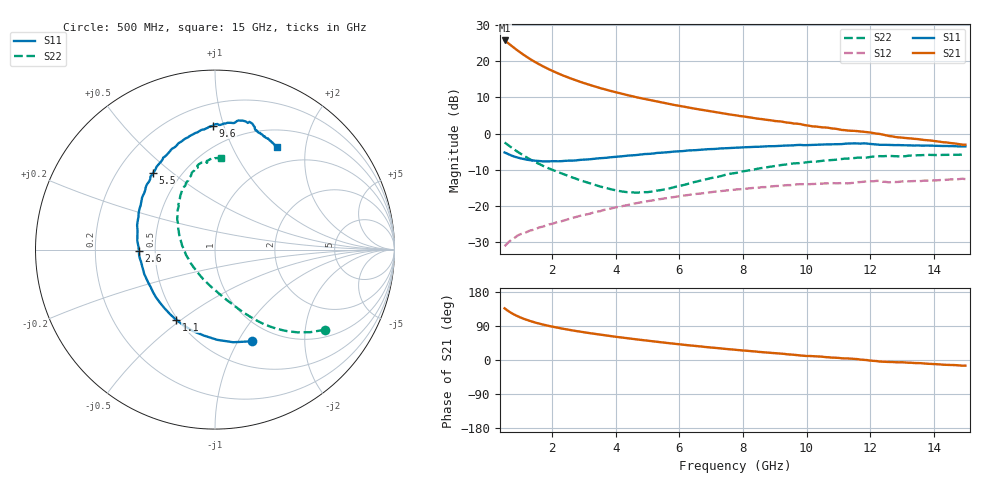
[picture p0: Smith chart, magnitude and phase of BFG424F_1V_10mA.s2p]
! Filename BFG424F_1V_10mA.prm
! Created	by	janssen	on	nov	2006
!	Column ranking S11, S21,S12,S22 both magnitude and phase.
!	VCE	=	1	V,	IC	=	10	mA
!	Common	Emitter	S-Parameters
#	GHz	S	MA	R	50
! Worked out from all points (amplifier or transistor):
!   146 points, 500 MHz to 15 GHz, reference 50 ohm
!   highest |S21| = 25.7 dB at 500 MHz (marker M1)
!   |S21| within 3 dB of that: start of sweep to 943.9 MHz
!   unconditionally stable (mu >= 1): 2.146 GHz to end of sweep
!   at 2.9 GHz: K = 1.13, MAG = 16.3 dB, |S12| = -22.6 dB
!   at 7.8 GHz: K = 1.22, MAG = 7.4 dB, |S12| = -15.4 dB
!   at 15 GHz: K = 1.59, MAG = 0.2 dB, |S12| = -12.5 dB
!   S11 on the Smith chart (normalised r, x): 500 MHz: 0.78, -1.14; 1.1 GHz: 0.49, -0.48; 2.6 GHz: 0.40, -0.01; 5.5 GHz: 0.35, +0.43; 9.6 GHz: 0.35, +0.92; 15 GHz: 0.74, +1.51
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0.5  0.55 -68.3  19.37 136.2  0.028 62.4  0.757 -36.2
0.6  0.526 -78.9  17.9 130.1  0.031 59.0  0.702 -41.0
0.7  0.503 -88.5  16.54 124.7  0.034 57.2  0.652 -45.0
0.8  0.483 -97.3  15.28 120.0  0.036 55.3  0.607 -48.5
0.9  0.47 -105.3  14.16 115.9  0.039 54.0  0.566 -51.6
1  0.457 -112.4  13.16 112.1  0.041 53.1  0.53 -54.2
1.1  0.447 -119.1  12.27 108.8  0.042 52.7  0.498 -56.6
1.2  0.438 -125.1  11.45 105.8  0.044 52.5  0.469 -58.8
1.4  0.426 -136.1  10.11 100.4  0.047 52.2  0.419 -62.6
1.7  0.415 -149.6  8.546 93.7  0.052 52.6  0.361 -67.8
2.1  0.416 -164.4  7.045 86.3  0.059 53.5  0.305 -74.3
2.6  0.424 -179.0  5.747 78.5  0.068 54.5  0.252 -83.5
3  0.438 171.2  4.992 73.2  0.076 55.0  0.219 -92.0
4  0.479 151.2  3.729 61.3  0.096 54.6  0.165 -121.3
5.4  0.545 130.2  2.722 47.0  0.125 50.8  0.166 -172.9
5.5  0.549 129.0  2.666 46.1  0.127 50.6  0.169 -176.4
6.5  0.592 117.1  2.209 37.0  0.147 46.8  0.216 157.3
7.8  0.641 104.6  1.788 26.9  0.17 41.8  0.288 135.9
9.6  0.691 90.9  1.382 13.8  0.197 34.1  0.389 116.6
10.2  0.701 86.5  1.26 10.1  0.202 31.0  0.411 111.8
12.6  0.699 70.4  0.929 -5.2  0.213 21.9  0.493 96.5
15  0.667 58.9  0.704 -14.9  0.236 15.4  0.512 86.2
